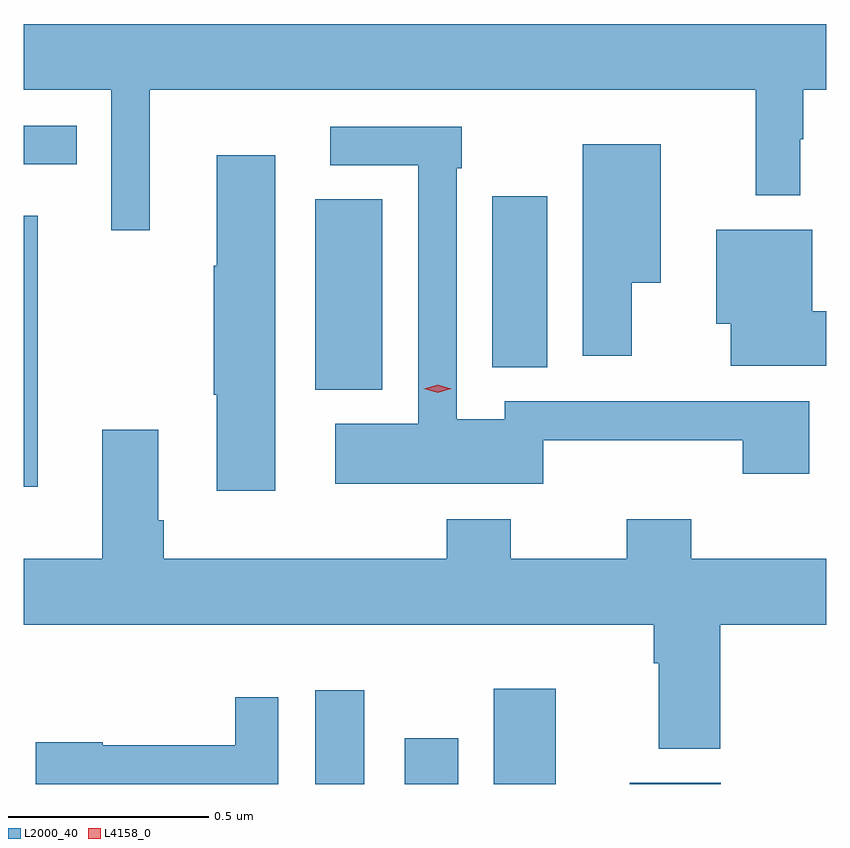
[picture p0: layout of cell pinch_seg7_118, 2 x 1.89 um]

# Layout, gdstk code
import gdstk
lib = gdstk.Library(unit=1e-6, precision=1e-09)
def R(c, l, rs):  # rectangles x0, y0, x1, y1
    for r in rs: c.add(gdstk.rectangle(r[:2], r[2:], *l))
def P(c, l, *ps):  # polygons
    for p in ps: c.add(gdstk.Polygon(p, *l))
L2000_40 = (2000, 40)
L4158_0 = (4158, 0)

pinch_seg7_118 = lib.new_cell('pinch_seg7_118')
R(pinch_seg7_118, L2000_40, [(901.958,1002.883,902.08,1003.117), (902.18,1002.883,902.314,1002.997), (902.402,1002.883,902.557,1003.12), (902.741,1002.883,902.968,1002.886), (901.231,1003.623,901.267,1004.299), (901.958,1003.865,902.125,1004.339), (902.399,1003.921,902.536,1004.347), (901.231,1004.427,901.364,1004.523)])
P(pinch_seg7_118, L2000_40, [(901.546,1004.612),(903.055,1004.612),(903.055,1004.349),(903.166,1004.349),(903.166,1004.489),(903.173,1004.489),(903.173,1004.612),(903.231,1004.612),(903.231,1004.776),(901.231,1004.776),(901.231,1004.612),(901.449,1004.612),(901.449,1004.262),(901.546,1004.262)],
  [(902.526,1003.739),(903.023,1003.739),(903.023,1003.656),(903.188,1003.656),(903.188,1003.836),(902.43,1003.836),(902.43,1003.792),(902.31,1003.792),(902.31,1004.417),(902.323,1004.417),(902.323,1004.52),(901.995,1004.52),(901.995,1004.424),(902.214,1004.424),(902.214,1003.78),(902.007,1003.78),(902.007,1003.631),(902.526,1003.631)],
  [(902.746,1004.132),(902.818,1004.132),(902.818,1004.476),(902.624,1004.476),(902.624,1003.95),(902.746,1003.95)],
  [(901.858,1004.449),(901.712,1004.449),(901.712,1004.174),(901.705,1004.174),(901.705,1003.852),(901.712,1003.852),(901.712,1003.614),(901.858,1003.614)],
  [(903.231,1004.06),(903.196,1004.06),(903.196,1004.263),(902.957,1004.263),(902.957,1004.03),(902.993,1004.03),(902.993,1003.925),(903.231,1003.925)],
  [(902.966,1003.28),(903.231,1003.28),(903.231,1003.444),(902.894,1003.444),(902.894,1003.543),(902.734,1003.543),(902.734,1003.444),(902.445,1003.444),(902.445,1003.543),(902.285,1003.543),(902.285,1003.444),(901.58,1003.444),(901.58,1003.54),(901.567,1003.54),(901.567,1003.765),(901.427,1003.765),(901.427,1003.444),(901.231,1003.444),(901.231,1003.28),(902.801,1003.28),(902.801,1003.184),(902.813,1003.184),(902.813,1002.971),(902.966,1002.971)],
  [(901.866,1003.099),(901.758,1003.099),(901.758,1002.979),(901.428,1002.979),(901.428,1002.987),(901.262,1002.987),(901.262,1002.883),(901.866,1002.883)])
P(pinch_seg7_118, L4158_0, [(902.263,1003.858),(902.228,1003.868),(902.228,1003.868),(902.228,1003.868),(902.263,1003.878),(902.297,1003.868),(902.298,1003.868),(902.297,1003.868)])

lib.write_gds('pinch_seg7_118.gds')
